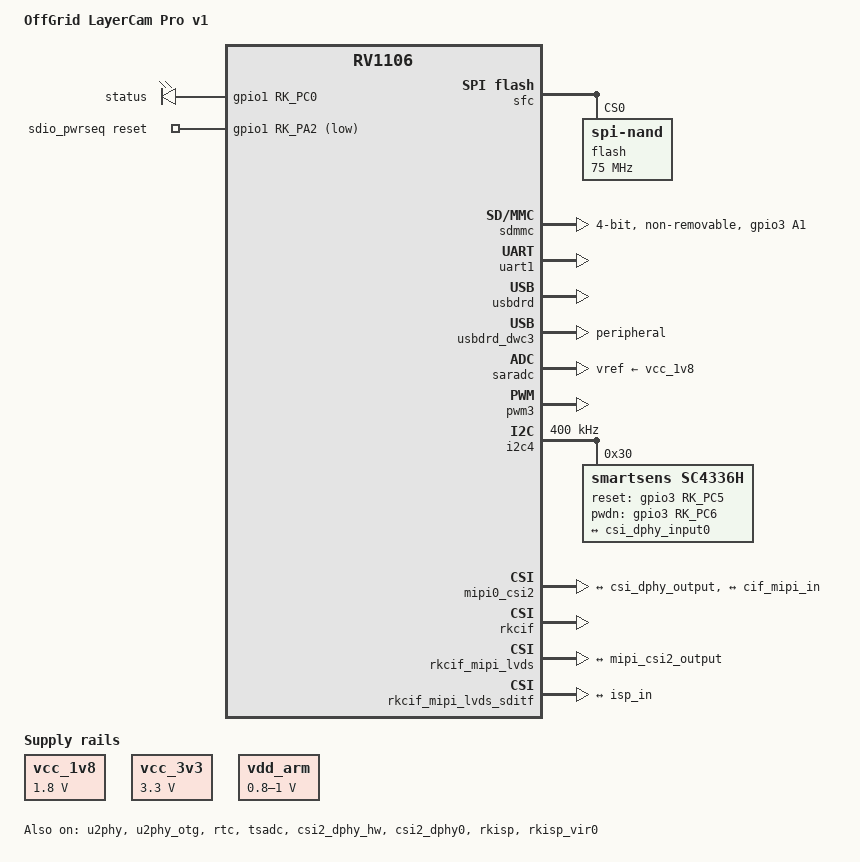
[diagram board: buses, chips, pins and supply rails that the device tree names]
// SPDX-License-Identifier: (GPL-2.0+ OR MIT)
/*
 * OffGrid LayerCam Pro v1: RV1106G3, a bare SmartSens SC4336H and an
 * Espressif ESP32-C6-MINI-1U-H4 (esp-hosted) on one board.
 *
 * Made from LayerCam v1's tree, which follows the Luckfox SDK's
 * rv1106g-luckfox-pico-pro-max.dts (camera, flash, USB) and
 * rv1106g-luckfox-pico-ultra.dts (SDIO), commit 824b817f of
 * github.com/LuckfoxTECH/luckfox-pico.  The Wi-Fi part follows
 * esp-hosted-linux v1.0.6.0.7 (github.com/espressif/esp-hosted-linux,
 * host/overlays/esp32-sdio-pwrseq.dts, docs/porting.md); the sensor node the
 * SDK's sc4336.c and rv1106-evb-cam.dtsi.  Every pin is the one
 * src/circuit.py's main_soc() gives it; tests/test_pins.py checks this file
 * against circuit.py.  Copy it to sysdrv/source/kernel/arch/arm/boot/dts/
 * and point RK_KERNEL_DTS at it (README.md, Building the image).
 *
 * Not yet booted on a board, and never compiled with dtc.
 */

/dts-v1/;

#include "rv1106.dtsi"
#include "rv1106-evb.dtsi"

/ {
	model = "OffGrid LayerCam Pro v1";
	compatible = "offgrid,layercam-pro-v1", "rockchip,rv1106g3";

	/* as Luckfox's boards; on SPI NAND, U-Boot's environment supplies root= */
	chosen {
		bootargs = "earlycon=uart8250,mmio32,0xff4c0000 console=ttyFIQ0 rootwait snd_soc_core.prealloc_buffer_size_kbytes=16 coherent_pool=0";
	};

	/* No keys: the camera has no button.  The evb's adc-keys would poll
	 * SARADC_IN0, which here is the BOOT pad (TP5), the boot ROM's MaskROM
	 * strap, and report it as volume keys.  The camera software reads the
	 * pin only to warn when it leaks towards ground (layercam/hw.py). */
	/delete-node/ adc-keys;

	vcc_1v8: vcc-1v8 {
		compatible = "regulator-fixed";
		regulator-name = "vcc_1v8";
		regulator-always-on;
		regulator-boot-on;
		regulator-min-microvolt = <1800000>;
		regulator-max-microvolt = <1800000>;
	};

	vcc_3v3: vcc-3v3 {
		compatible = "regulator-fixed";
		regulator-name = "vcc_3v3";
		regulator-always-on;
		regulator-boot-on;
		regulator-min-microvolt = <3300000>;
		regulator-max-microvolt = <3300000>;
	};

	/* the 0.9 V buck is fixed (TLV62569, 0.882 V), as Luckfox's */
	vdd_arm: vdd-arm {
		compatible = "regulator-fixed";
		regulator-name = "vdd_arm";
		regulator-min-microvolt = <800000>;
		regulator-max-microvolt = <1000000>;
		regulator-init-microvolt = <900000>;
		regulator-always-on;
		regulator-boot-on;
	};

	/* LED1, green, GPIO1_C0 through 1k: /sys/class/leds/status */
	leds {
		compatible = "gpio-leds";
		pinctrl-names = "default";
		pinctrl-0 = <&status_led_pin>;

		status_led: status {
			label = "status";
			gpios = <&gpio1 RK_PC0 GPIO_ACTIVE_HIGH>;
			default-state = "on";
		};
	};

	/* ESP32-C6 EN on GPIO1_A2 (100k pull-down and 100 nF on the board: the
	 * module is held in reset until Linux raises it).  1500 ms, not v1's
	 * 200 ms: esp-hosted-linux's own overlay says the C6's SDIO function is
	 * not reliably CMD52-ready after 200 ms and qualifies 1500 ms
	 * (host/overlays/esp32-sdio-pwrseq.dts).  To flash the C6 over its UART
	 * this device is unbound so the pin is free (tools/layercam-c6-flash.py). */
	sdio_pwrseq: sdio-pwrseq {
		compatible = "mmc-pwrseq-simple";
		pinctrl-names = "default";
		pinctrl-0 = <&wifi_enable_h>;
		reset-gpios = <&gpio1 RK_PA2 GPIO_ACTIVE_LOW>;
		post-power-on-delay-ms = <1500>;
	};

	/* No wlan-platdata (bcmdhd) and no bluetooth-platdata node: the C6 is
	 * an ordinary SDIO card to esp-hosted's esp32_sdio.ko, and the board has
	 * no Bluetooth.  WIFI_HOST_WAKE (GPIO0_A3, the C6's IO4) is wired for
	 * esp-hosted's host-sleep wake-up but unused: the camera never
	 * suspends.  Its pin is set below (pull-down) and nothing claims it. */
};

&cpu0 {
	cpu-supply = <&vdd_arm>;
};

/********** flash: W25N02KV, quad SPI NAND (as the Pro Max) **********/
&sfc {
	status = "okay";
	flash@0 {
		compatible = "spi-nand";
		reg = <0>;
		spi-max-frequency = <75000000>;
		spi-rx-bus-width = <4>;
		spi-tx-bus-width = <1>;
	};
};

/********** SDIO: ESP32-C6 (esp-hosted) at 3.3 V (VCCIO4 3.3 V) **********/
/* 25 MHz for bring-up, as esp-hosted's porting guide advises ("start with a
 * conservative bus clock"); the C6 slave does 50 MHz high speed, so raise it
 * once transfers are proven.  25 MHz x 4 bits is far more than the camera's
 * uploads need. */
&sdmmc {
	max-frequency = <25000000>;
	bus-width = <4>;
	cap-sd-highspeed;
	cap-sdio-irq;
	keep-power-in-suspend;
	non-removable;
	no-1-8-v;
	supports-sdio;
	rockchip,default-sample-phase = <90>;
	mmc-pwrseq = <&sdio_pwrseq>;
	/* esp-hosted (host/sdio/esp_sdio.c): this pwrseq really toggles the
	 * C6's EN, so an mmc_hw_reset() restarts its firmware */
	espressif,full-chip-reset;
	pinctrl-names = "default";
	pinctrl-0 = <&sdmmc0_clk &sdmmc0_cmd &sdmmc0_bus4 &sdmmc0_det>;
	status = "okay";
};

/********** UART1_M0 to the C6's UART0 (TX/RX only): flashing it from Linux, /dev/ttyS1 **********/
/* rv1106.dtsi's default also takes CTS/RTS (GPIO0_A5/A6); here only the two
 * data lines are wired (esptool's protocol needs no flow control) */
&uart1 {
	pinctrl-names = "default";
	pinctrl-0 = <&uart1m0_xfer>;
	status = "okay";
};

/********** not fitted on this board **********/
&gmac {
	status = "disabled";
};

&i2s0_8ch {
	status = "disabled";
};

&acodec {
	status = "disabled";
};

/********** USB-C: device only (the layercam-setup console, CDC-ACM) **********/
/* peripheral, not otg: the USB-C has Rd on CC and no VBUS switch, so it is
 * never a host, and with no ID pin or role switch otg could only guess.
 * MaskROM (BOOT pads) and U-Boot's loader (reboot loader) flash over the
 * same port without Linux, so nothing here affects them. */
&u2phy {
	status = "okay";
};

&u2phy_otg {
	rockchip,dis-u2-susphy;
	status = "okay";
};

&usbdrd {
	status = "okay";
};

&usbdrd_dwc3 {
	status = "okay";
	dr_mode = "peripheral";
};

&rtc {
	status = "okay";
};

/********** ADC: SARADC_IN0 BOOT pad (diagnostics only), SARADC_IN1 light sensor; 1.8 V reference **********/
&saradc {
	status = "okay";
	vref-supply = <&vcc_1v8>;
};

&tsadc {
	status = "okay";
};

/********** IR LEDs: PWM3 on its M1 pin (GPIO1_B0) to the AO3400A gate **********/
&pwm3 {
	status = "okay";
	pinctrl-names = "active";
	pinctrl-0 = <&pwm3m1_pins>;
};

/********** camera: SC4336H, 2 lanes, I2C4_M2 at 0x30, 24 MHz MCLK on GPIO3_C4, XSHUTDN GPIO3_C5, PWDNB GPIO3_C6 **********/
&csi2_dphy_hw {
	status = "okay";
};

&csi2_dphy0 {
	status = "okay";

	ports {
		#address-cells = <1>;
		#size-cells = <0>;

		port@0 {
			reg = <0>;
			#address-cells = <1>;
			#size-cells = <0>;

			csi_dphy_input0: endpoint@0 {
				reg = <0>;
				remote-endpoint = <&sc4336h_out>;
				data-lanes = <1 2>;
			};
		};

		port@1 {
			reg = <1>;
			#address-cells = <1>;
			#size-cells = <0>;

			csi_dphy_output: endpoint@0 {
				reg = <0>;
				remote-endpoint = <&mipi_csi2_input>;
			};
		};
	};
};

&i2c4 {
	status = "okay";
	clock-frequency = <400000>;
	pinctrl-names = "default";
	pinctrl-0 = <&i2c4m2_xfer>;

	/* SmartSens SC4336H, bare on the board (SID low: 0x30).  No driver for
	 * it exists in the SDK or in Rockchip's kernels, and its chip ID and
	 * register table are under SmartSens NDA.  "smartsens,sc4336h" is the
	 * port of the SDK's sc4336.c that tools/sc4336h-port.py makes
	 * (README.md, The sensor driver): same power sequence (24 MHz xvclk,
	 * reset = XSHUTDN, pwdn = PWDNB, both "1 = run" as Rockchip's evb
	 * writes them), same 2560x1440 2-lane mode.  TODO(SC4336H): the
	 * register table is the SC4336's until SmartSens' is in hand.
	 * The module and lens names are ours: they make rkaiq load
	 * /etc/iqfiles/sc4336h_LayerCamPro_LCP-F16.json (layercam/board.py). */
	sc4336h: sc4336h@30 {
		compatible = "smartsens,sc4336h";
		status = "okay";
		reg = <0x30>;
		clocks = <&cru MCLK_REF_MIPI0>;
		clock-names = "xvclk";
		reset-gpios = <&gpio3 RK_PC5 GPIO_ACTIVE_HIGH>;
		pwdn-gpios = <&gpio3 RK_PC6 GPIO_ACTIVE_HIGH>;
		pinctrl-names = "default";
		pinctrl-0 = <&mipi_refclk_out0>;
		rockchip,camera-module-index = <0>;
		rockchip,camera-module-facing = "back";
		rockchip,camera-module-name = "LayerCamPro";
		rockchip,camera-module-lens-name = "LCP-F16";
		port {
			sc4336h_out: endpoint {
				remote-endpoint = <&csi_dphy_input0>;
				data-lanes = <1 2>;
			};
		};
	};
};

&mipi0_csi2 {
	status = "okay";

	ports {
		#address-cells = <1>;
		#size-cells = <0>;

		port@0 {
			reg = <0>;
			#address-cells = <1>;
			#size-cells = <0>;

			mipi_csi2_input: endpoint@1 {
				reg = <1>;
				remote-endpoint = <&csi_dphy_output>;
			};
		};

		port@1 {
			reg = <1>;
			#address-cells = <1>;
			#size-cells = <0>;

			mipi_csi2_output: endpoint@0 {
				reg = <0>;
				remote-endpoint = <&cif_mipi_in>;
			};
		};
	};
};

&rkcif {
	status = "okay";
};

&rkcif_mipi_lvds {
	status = "okay";
	pinctrl-names = "default";
	pinctrl-0 = <&mipi_pins>;
	port {
		cif_mipi_in: endpoint {
			remote-endpoint = <&mipi_csi2_output>;
		};
	};
};

&rkcif_mipi_lvds_sditf {
	status = "okay";
	port {
		mipi_lvds_sditf: endpoint {
			remote-endpoint = <&isp_in>;
		};
	};
};

&rkisp {
	status = "okay";
};

&rkisp_vir0 {
	status = "okay";
	port@0 {
		isp_in: endpoint {
			remote-endpoint = <&mipi_lvds_sditf>;
		};
	};
};

/********** pins **********/
&pinctrl {
	/* the IR-cut H-bridge inputs (DRV8210P IN1/IN2, pulled down inside the
	 * driver too): plain GPIOs, low, so the bridge is off until the
	 * camera software pulses the coil.  Held by the pin controller itself. */
	pinctrl-names = "default";
	pinctrl-0 = <&ircut_pins &wifi_boot &wifi_host_wake>;

	ircut {
		ircut_pins: ircut-pins {
			rockchip,pins =
				/* IRCUT_A, GPIO1_A0 */
				<1 RK_PA0 RK_FUNC_GPIO &pcfg_pull_down>,
				/* IRCUT_B, GPIO1_A1 */
				<1 RK_PA1 RK_FUNC_GPIO &pcfg_pull_down>;
		};
	};

	leds {
		status_led_pin: status-led-pin {
			rockchip,pins = <1 RK_PC0 RK_FUNC_GPIO &pcfg_pull_none>;
		};
	};

	wifi {
		wifi_enable_h: wifi-enable-h {
			rockchip,pins = <1 RK_PA2 RK_FUNC_GPIO &pcfg_pull_none>;
		};
		/* the C6's GPIO9 strap: high (10k on the board, and this pull-up)
		 * = boot from its flash.  A plain GPIO that no driver claims, so
		 * layercam-c6-flash can pull it low through sysfs */
		wifi_boot: wifi-boot {
			rockchip,pins = <0 RK_PA2 RK_FUNC_GPIO &pcfg_pull_up>;
		};
		/* the C6's IO4 (an MTMS strap, harmless low): unused input */
		wifi_host_wake: wifi-host-wake {
			rockchip,pins = <0 RK_PA3 RK_FUNC_GPIO &pcfg_pull_down>;
		};
	};

	/* SDMMC0_DET has 1k to ground on the board: the "card" is always there */
	sdmmc0 {
		sdmmc0_det: sdmmc0-det {
			rockchip,pins = <3 RK_PA1 1 &pcfg_pull_down>;
		};
	};
};
